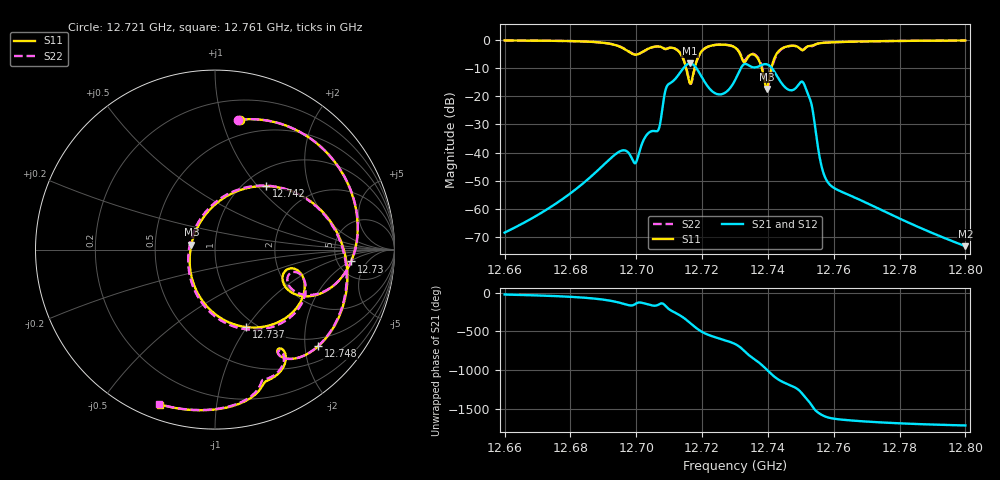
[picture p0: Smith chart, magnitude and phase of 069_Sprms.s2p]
! TOUCHSTONE file generated by CST MICROWAVE STUDIO
! Date and time: Wed Jul 31 14:11:13 2024
! Project name: WaveGuide_BPF-Ver4.1_U-shape_Ku_T3_C4_CWA_2.cst
! Parameters = {cavity_h=16; cavity_l0=10; cavity_l1=15.18; cavity_l2=16.8832; cavity_l3=17.111; cavity_l4=17.2805; cavity_l5=17.0939; cavity_l6=17.6156; cavity_r=2.5; cavity_screw_l=0.5; cavity_screw_r=1.5; cavity_w=8; iris_h00=0; iris_h01=8.8227; iris_h112=0; iris_h12=5.6093; iris_h211=3.6637; iri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
! Header version: 2018
! Port assignment regex: !\s*Touchstone port\s*([0-9]+)\s*=\s*(CST MWS port|CST DS port)\s*([0-9]+|Zmin|Zmax)\s*\(\"(.*)\"\)(\s*mode\s*([0-9]+))?.*
! Touchstone port assignment:
! Touchstone port 1 = CST MWS port 1 ("")
! Touchstone port 2 = CST MWS port 2 ("")
# GHz S RI R 50
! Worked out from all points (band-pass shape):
!   5001 points, 12.66 GHz to 12.8 GHz, reference 50 ohm
!   highest |S21| = -8.34 dB at 12.716 GHz (marker M1); lowest = -73.2 dB at 12.8 GHz (marker M2)
!   |S21| within 3 dB of the highest: 12.71347 GHz to 12.71901 GHz (5.536 MHz wide, 0.0435 % of centre); 12.73123 GHz to 12.74201 GHz (10.78 MHz wide, 0.0846 % of centre)
!   lowest |S11| = -17.4 dB at 12.74 GHz (marker M3), VSWR 1.31, Z = 38.3 + j2.18 ohm
!   |S11| at or under -10 dB: 12.71515 GHz to 12.71772 GHz (2.568 MHz wide, 0.0202 % of centre); 12.73813 GHz to 12.74104 GHz (2.911 MHz wide, 0.0228 % of centre)
!   |S22| runs from -16.9 to -0.2 dB; largest |S21 - S12| = 1e-09
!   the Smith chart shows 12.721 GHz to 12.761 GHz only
!   S11 on the Smith chart (normalised r, x): 12.721 GHz: 0.36, +1.15; 12.73 GHz: 6.68, -2.10; 12.737 GHz: 0.90, -0.99; 12.742 GHz: 1.25, +1.11; 12.748 GHz: 0.81, -2.29; 12.761 GHz: 0.07, -0.71
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12.66  0.3009 0.9337  0.000351 -0.000145  0.000351 -0.000145  0.3034 0.9329
12.68335  0.7538 0.5692  0.00131 -0.00235  0.00131 -0.00235  0.7557 0.5671
12.69284  0.8271 -0.1233  -0.00266 -0.0081  -0.00266 -0.0081  0.8301 -0.1206
12.69772  0.0928 -0.6103  -0.00924 -0.00333  -0.00924 -0.00333  0.1175 -0.6155
12.70155  -0.5809 0.1457  -0.00822 -0.0106  -0.00822 -0.0106  -0.5861 0.1052
12.70668  0.1751 0.7487  -0.0229 -0.0104  -0.0229 -0.0104  0.1475 0.7527
12.71247  0.6383 0.1633  0.0105 0.2252  0.0105 0.2252  0.6376 0.1837
12.71634  -0.0781 -0.1494  0.3319 -0.1903  0.3319 -0.1903  -0.0554 -0.1614
12.72126  0.1402 0.7235  -0.1618 -0.0193  -0.1618 -0.0193  0.1294 0.7223
12.72955  0.7578 -0.0663  0.0708 0.1573  0.0708 0.1573  0.7639 -0.0544
12.73  0.7234 -0.13  0.105 0.1611  0.105 0.1611  0.7322 -0.1178
12.73398  0.4792 -0.134  0.0694 -0.3539  0.0694 -0.3539  0.4901 -0.1553
12.737  0.173 -0.4316  -0.3345 -0.0328  -0.3345 -0.0328  0.1847 -0.4456
12.73963  -0.1314 0.028  0.0292 0.3693  0.0292 0.3693  -0.148 -0.0243
12.74184  0.2841 0.3537  0.2802 -0.0109  0.2802 -0.0109  0.2324 0.3556
12.74459  0.7237 -0.025  0.036 -0.1544  0.036 -0.1544  0.714 -0.00467
12.74803  0.5754 -0.5382  -0.1056 -0.0816  -0.1056 -0.0816  0.5786 -0.533
12.75335  0.2785 -0.7379  0.063 -0.0243  0.063 -0.0243  0.2634 -0.7286
12.75671  0.0112 -0.8894  -0.004 -0.00237  -0.004 -0.00237  0.00629 -0.888
12.76072  -0.3047 -0.8633  -0.00217 0.000575  -0.00217 0.000575  -0.3114 -0.8607
12.77668  -0.8882 -0.3577  -0.00036 0.00075  -0.00036 0.00075  -0.8909 -0.3515
12.8  -0.9598 0.1939  3.23e-05 0.000216  3.23e-05 0.000216  -0.9589 0.1986
